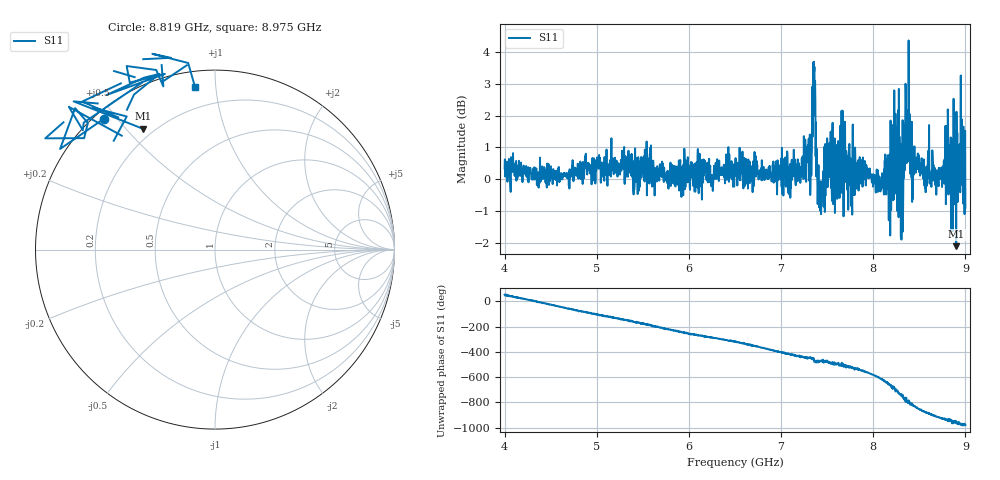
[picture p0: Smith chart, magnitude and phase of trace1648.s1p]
! Created with skrf 1.8.0 (http://scikit-rf.org).
# Hz S RI R 50.0
!freq ReS11 ImS11
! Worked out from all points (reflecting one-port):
!   1601 points, 4 GHz to 9 GHz, reference 50 ohm
!   lowest |S11| = -2.1 dB at 8.9 GHz (marker M1), VSWR 8.29, Z = 7.94 + j27.8 ohm
!   phase of S11 starts at 53 deg and turns -1033 deg over the sweep
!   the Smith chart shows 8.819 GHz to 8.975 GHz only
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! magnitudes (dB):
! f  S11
! 4 GHz  0.3
! 4.625 GHz  0.0
! 5.25 GHz  0.2
! 5.875 GHz  0.1
! 6.5 GHz  0.2
! 7.125 GHz  0.6
! 7.309 GHz  1.0
! 7.347 GHz  2.9
! 7.359 GHz  3.4
! 7.4 GHz  -0.3
! 7.422 GHz  -1.0
! 7.512 GHz  0.8
! 7.609 GHz  -0.6
! 7.669 GHz  0.8
! 7.75 GHz  0.3
! 8.091 GHz  -0.1
! 8.188 GHz  1.8
! 8.253 GHz  0.5
! 8.316 GHz  -0.3
! 8.334 GHz  0.9
! 8.375 GHz  0.6
! 8.447 GHz  1.0
! 8.562 GHz  -0.3
! 8.816 GHz  -0.5
! 8.841 GHz  1.3
! 8.9 GHz  -2.1
! 8.972 GHz  0.4
! 9 GHz  -0.9
